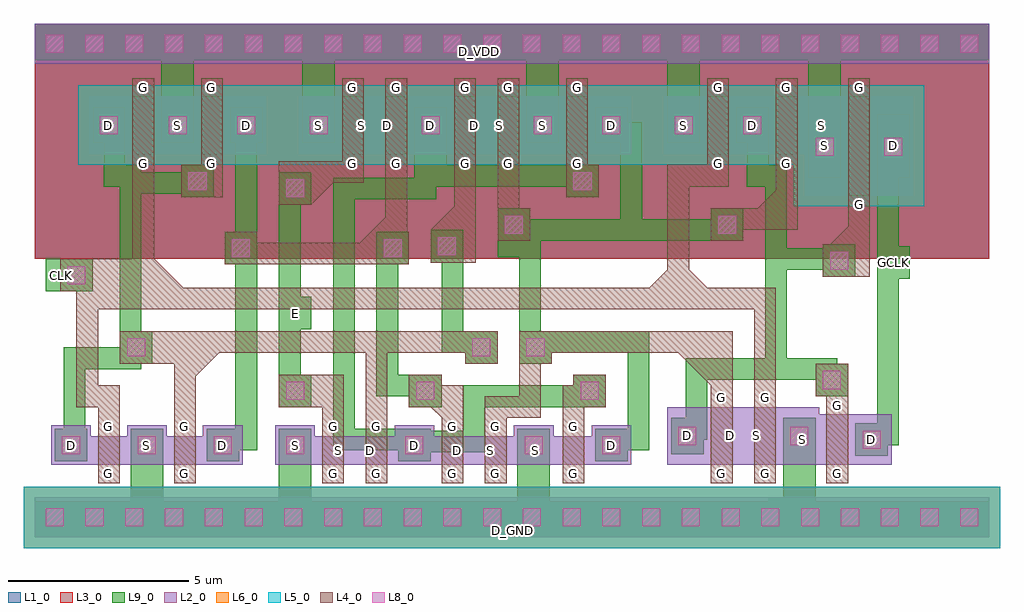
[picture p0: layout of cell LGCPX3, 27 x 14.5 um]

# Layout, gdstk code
import gdstk
lib = gdstk.Library(unit=1e-6, precision=1e-09)
def R(c, l, rs):  # rectangles x0, y0, x1, y1
    for r in rs: c.add(gdstk.rectangle(r[:2], r[2:], *l))
def A(c, l, x, y, w, h, nx, ny, dx, dy):  # array of equal rectangles
    R(c, l, [(x+i*dx, y+j*dy, x+i*dx+w, y+j*dy+h) for i in range(nx) for j in range(ny)])
def P(c, l, *ps):  # polygons
    for p in ps: c.add(gdstk.Polygon(p, *l))
L1_0 = (1, 0)
L2_0 = (2, 0)
L3_0 = (3, 0)
L4_0 = (4, 0)
L5_0 = (5, 0)
L6_0 = (6, 0)
L8_0 = (8, 0)
L9_0 = (9, 0)

lgcpx3 = lib.new_cell('LGCPX3')
A(lgcpx3, L1_0, 0, 7.7, 1.1, 6.5, 24, 1, 1.1, 0)
R(lgcpx3, L1_0, [(19.8,7.95,25.8,13.7), (0,9.1,6,13.7), (1.9,9.1,7.9,13.7), (5.8,9.1,11.8,13.7), (7,9.1,13,13.7), (8.9,9.1,14.9,13.7), (10.1,9.1,16.1,13.7), (12,9.1,18,13.7), (15.9,9.1,21.9,13.7), (17.8,9.1,23.8,13.7)])
A(lgcpx3, L2_0, 0, 0, 1.1, 1.1, 24, 2, 1.1, 13.1)
R(lgcpx3, L2_0, [(0.45,2,1.55,3.1), (1.55,2,2.55,2.8), (2.55,2,3.65,3.1), (2.55,2,3.65,3.1), (3.65,2,4.65,2.8), (4.65,2,5.75,3.1), (6.65,2,7.75,3.1), (7.75,2,8.75,2.8), (7.85,2,8.95,2.8), (8.75,2,9.85,2.8), (8.95,2,9.95,2.8), (9.95,2,11.05,3.1), (9.95,2,11.05,3.1), (11.05,2,12.05,2.8), (11.15,2,12.25,2.8), (12.05,2,13.15,2.8), (12.25,2,13.25,2.8), (13.25,2,14.35,3.1), (13.3,2,14.4,2.8), (14.4,2,15.4,2.8), (15.4,2,16.5,3.1), (17.5,2,18.6,3.6), (18.6,2,19.4,3.6), (18.7,2,19.8,3.6), (19.4,2,20.5,3.6), (19.8,2,20.6,3.6), (20.6,2,21.7,3.6), (20.7,2,21.8,3.4), (21.8,2,22.6,3.4), (22.6,2,23.7,3.4), (21.3,9.45,22.4,12.2), (22.4,9.45,23.2,12.2), (23.2,9.45,24.3,12.2), (1.5,10.6,2.6,12.2), (2.6,10.6,3.4,12.2), (3.4,10.6,4.5,12.2), (3.4,10.6,4.5,12.2), (4.5,10.6,5.3,12.2), (5.3,10.6,6.4,12.2), (7.3,10.6,8.4,12.2), (8.4,10.6,9.2,12.2), (8.5,10.6,9.6,12.2), (9.2,10.6,10.3,12.2), (9.6,10.6,10.4,12.2), (10.4,10.6,11.5,12.2), (10.4,10.6,11.5,12.2), (11.5,10.6,12.3,12.2), (11.6,10.6,12.7,12.2), (12.3,10.6,13.4,12.2), (12.7,10.6,13.5,12.2), (13.5,10.6,14.6,12.2), (13.5,10.6,14.6,12.2), (14.6,10.6,15.4,12.2), (15.4,10.6,16.5,12.2), (17.4,10.6,18.5,12.2), (18.5,10.6,19.3,12.2), (19.3,10.6,20.4,12.2), (19.3,10.6,20.4,12.2), (20.4,10.6,21.2,12.2), (21.2,10.6,22.3,12.2)])
A(lgcpx3, L3_0, 0, 7.7, 1.1, 6.5, 24, 1, 1.1, 0)
R(lgcpx3, L3_0, [(19.8,7.95,25.8,13.7), (0,9.1,6,13.7), (1.9,9.1,7.9,13.7), (5.8,9.1,11.8,13.7), (7,9.1,13,13.7), (8.9,9.1,14.9,13.7), (10.1,9.1,16.1,13.7), (12,9.1,18,13.7), (15.9,9.1,21.9,13.7), (17.8,9.1,23.8,13.7)])
R(lgcpx3, L4_0, [(1.75,1.5,2.35,2), (1.75,1.5,2.35,3.3), (3.85,1.5,4.45,2), (3.85,1.5,4.45,3.3), (7.95,1.5,8.55,2), (7.95,1.5,8.55,3.3), (9.15,1.5,9.75,2), (9.15,1.5,9.75,3.3), (11.25,1.5,11.85,2), (11.25,1.5,11.85,3.3), (12.45,1.5,13.05,2), (12.45,1.5,13.05,3.3), (14.6,1.5,15.2,2), (14.6,1.5,15.2,3.3), (18.7,1.5,19.3,4.1), (18.7,1.5,19.3,2), (19.9,1.5,20.5,4.1), (19.9,1.5,20.5,2), (21.9,1.5,22.5,2), (21.9,1.5,22.5,3.9), (1.75,2.8,2.35,3.3), (3.85,2.8,4.45,3.3), (7.95,2.8,8.55,3.3), (9.15,2.8,9.75,3.3), (11.25,2.8,11.85,3.3), (12.45,2.8,13.05,3.3), (14.6,2.8,15.2,3.3), (14.6,3,15.2,4.2), (11.25,3.25,11.85,4.2), (9.15,3.3,9.75,4.55), (21.9,3.4,22.5,3.9), (6.75,3.6,7.65,4.5), (10.35,3.6,11.25,4.5), (14.9,3.6,15.8,4.5), (18.7,3.6,19.3,4.1), (19.9,3.6,20.5,4.1), (21.6,3.9,22.5,4.8), (7.65,4.2,8.55,4.5), (2.35,4.8,3.25,5.7), (11.9,4.8,12.8,5.7), (13.4,4.8,14.3,5.7), (8.2,5.1,12.55,5.7), (2.7,6.3,3.3,10.1), (0.7,6.8,1.6,7.7), (1.6,6.9,2.7,7.7), (21.8,7.2,22.7,8.1), (22.5,7.2,23.1,8.95), (5.25,7.55,6.15,8.45), (9.45,7.55,10.35,8.45), (10.95,7.6,11.85,8.5), (11.6,7.6,12.2,10.1), (12.8,8.2,13.7,9.1), (18.7,8.2,19.6,9.1), (22.5,8.95,23.1,9.45), (22.5,8.95,23.1,12.7), (12.8,9.1,13.4,10.1), (6.75,9.2,7.65,10.1), (4.05,9.4,4.95,10.3), (4.95,9.4,5.2,10.15), (14.7,9.4,15.6,10.3), (6.75,9.8,9.1,10.4), (2.7,10.1,3.3,12.7), (2.7,10.1,3.3,10.6), (4.6,10.1,5.2,12.7), (4.6,10.1,5.2,10.6), (8.5,10.1,9.1,12.7), (8.5,10.1,9.1,10.6), (9.7,10.1,10.3,12.7), (9.7,10.1,10.3,10.6), (11.6,10.1,12.2,12.7), (11.6,10.1,12.2,10.6), (12.8,10.1,13.4,12.7), (12.8,10.1,13.4,10.6), (14.7,10.1,15.3,12.7), (14.7,10.1,15.3,10.6), (18.6,10.1,19.2,12.7), (18.6,10.1,19.2,10.6), (20.5,10.1,21.1,12.7), (20.5,10.1,21.1,10.6), (2.7,12.2,3.3,12.7), (4.6,12.2,5.2,12.7), (8.5,12.2,9.1,12.7), (9.7,12.2,10.3,12.7), (11.6,12.2,12.2,12.7), (12.8,12.2,13.4,12.7), (14.7,12.2,15.3,12.7), (18.6,12.2,19.2,12.7), (20.5,12.2,21.1,12.7), (22.5,12.2,23.1,12.7)])
P(lgcpx3, L4_0, [(3.3,6.9),(4.1,6.9),(3.3,7.7)],
  [(4.45,4.45),(5.1,5.1),(4.45,5.1)],
  [(7.65,9.2),(8.25,9.8),(7.65,9.8)],
  [(11.65,8.5),(11.65,9.2),(10.95,8.5)],
  [(9.7,8.1),(9.7,8.85),(8.95,8.1)],
  [(17.8,5.1),(18.7,4.2),(18.7,5.1)],
  [(11.25,3.6),(10.95,3.6),(11.25,3.3)],
  [(18.1,6.9),(18.6,6.9),(18.1,7.4)],
  [(17.5,6.9),(17.5,7.4),(17,6.9)],
  [(22.5,8.1),(22.5,8.6),(22,8.1)],
  [(20.5,9.1),(20.5,9.6),(20,9.1)],
  [(19.6,8.5),(21.1,8.5),(21.1,10.1),(20.5,10.1),(20.5,9.1),(19.6,9.1)],
  [(17.5,6.9),(18.1,6.9),(18.1,9.7),(19.2,9.7),(19.2,10.4),(18.6,10.4),(18.6,10.3),(17.5,10.3)],
  [(6.15,7.55),(10.3,7.55),(10.3,10.1),(9.7,10.1),(9.7,8.15),(6.15,8.15)],
  [(2.9,5.1),(9.15,5.1),(9.15,4.5),(9.75,4.5),(9.75,5.7),(2.9,5.7)],
  [(1.15,3.6),(1.75,3.6),(1.75,3.3),(2.35,3.3),(2.35,4.2),(1.75,4.2),(1.75,6.3),(2.35,6.3),(2.35,6.9),(1.15,6.9)],
  [(3.2,4.8),(3.85,4.8),(3.85,3.3),(4.45,3.3),(4.45,5.4),(3.2,5.4)],
  [(7.65,3.6),(7.95,3.6),(7.95,3.3),(8.55,3.3),(8.55,4.2),(7.65,4.2)],
  [(12.45,3.3),(14,3.3),(14,4.8),(13.4,4.8),(13.4,3.9),(12.45,3.9)],
  [(14.3,5.1),(18.7,5.1),(18.7,4.1),(19.3,4.1),(19.3,5.7),(14.3,5.7)],
  [(1.15,3.6),(1.75,3.6),(1.75,3.3),(2.35,3.3),(2.35,4.2),(1.75,4.2),(1.75,6.3),(19.9,6.3),(19.9,4.1),(20.5,4.1),(20.5,6.9),(1.15,6.9)])
A(lgcpx3, L5_0, 1.1, -0.3, 1.1, 1.7, 22, 1, 1.1, 0)
R(lgcpx3, L5_0, [(-0.3,-0.3,1.1,1.4), (25.3,-0.3,26.7,1.4), (21,9.15,24.6,12.5), (1.2,10.3,4.8,12.5), (3.1,10.3,6.7,12.5), (6.7,10.3,7,12.5), (7,10.3,10.6,12.5), (8.2,10.3,11.8,12.5), (10.1,10.3,13.7,12.5), (11.3,10.3,14.9,12.5), (13.2,10.3,16.8,12.5), (16.8,10.3,17.1,12.5), (17.1,10.3,20.7,12.5), (19,10.3,22.6,12.5)])
A(lgcpx3, L6_0, 1.1, -0.3, 1.1, 1.7, 22, 1, 1.1, 0)
R(lgcpx3, L6_0, [(-0.3,-0.3,1.1,1.4), (25.3,-0.3,26.7,1.4), (21,9.15,24.6,12.5), (1.2,10.3,4.8,12.5), (3.1,10.3,6.7,12.5), (6.7,10.3,7,12.5), (7,10.3,10.6,12.5), (8.2,10.3,11.8,12.5), (10.1,10.3,13.7,12.5), (11.3,10.3,14.9,12.5), (13.2,10.3,16.8,12.5), (16.8,10.3,17.1,12.5), (17.1,10.3,20.7,12.5), (19,10.3,22.6,12.5)])
A(lgcpx3, L8_0, 0.3, 0.3, 0.5, 0.5, 24, 2, 1.1, 13.1)
R(lgcpx3, L8_0, [(0.75,2.3,1.25,2.8), (2.85,2.3,3.35,2.8), (2.85,2.3,3.35,2.8), (4.95,2.3,5.45,2.8), (6.95,2.3,7.45,2.8), (10.25,2.3,10.75,2.8), (10.25,2.3,10.75,2.8), (13.55,2.3,14.05,2.8), (15.7,2.3,16.2,2.8), (22.9,2.45,23.4,2.95), (17.8,2.55,18.3,3.05), (20.9,2.55,21.4,3.05), (6.95,3.8,7.45,4.3), (10.55,3.8,11.05,4.3), (15.1,3.8,15.6,4.3), (21.8,4.1,22.3,4.6), (2.55,5,3.05,5.5), (12.1,5,12.6,5.5), (13.6,5,14.1,5.5), (0.9,7,1.4,7.5), (22,7.4,22.5,7.9), (5.45,7.75,5.95,8.25), (9.65,7.75,10.15,8.25), (11.15,7.8,11.65,8.3), (13,8.4,13.5,8.9), (18.9,8.4,19.4,8.9), (6.95,9.4,7.45,9.9), (4.25,9.6,4.75,10.1), (14.9,9.6,15.4,10.1), (21.6,10.55,22.1,11.05), (23.5,10.55,24,11.05), (1.8,11.15,2.3,11.65), (3.7,11.15,4.2,11.65), (3.7,11.15,4.2,11.65), (5.6,11.15,6.1,11.65), (7.6,11.15,8.1,11.65), (10.7,11.15,11.2,11.65), (10.7,11.15,11.2,11.65), (13.8,11.15,14.3,11.65), (13.8,11.15,14.3,11.65), (15.7,11.15,16.2,11.65), (17.7,11.15,18.2,11.65), (19.6,11.15,20.1,11.65), (19.6,11.15,20.1,11.65)])
A(lgcpx3, L9_0, 0, 0, 1.1, 1, 24, 2, 1.1, 13.2)
R(lgcpx3, L9_0, [(0,0,26.4,1), (13.35,0.1,14.25,3), (2.65,0.35,3.55,3), (6.75,0.35,7.65,3), (0.55,2.1,1.45,3), (2.65,2.1,3.55,3), (2.65,2.1,3.55,3), (4.75,2.1,5.65,3), (6.75,2.1,7.65,3), (10.05,2.1,10.95,3), (10.05,2.1,10.95,3), (13.35,2.1,14.25,3), (15.5,2.1,16.4,3), (22.7,2.25,23.6,3.15), (17.6,2.3,18.5,3.3), (20.7,2.3,21.6,3.3), (6.75,3.6,7.65,4.5), (10.35,3.6,11.25,4.5), (14.9,3.6,15.8,4.5), (21.6,3.9,22.5,4.8), (2.35,4.8,3.25,5.7), (11.9,4.8,12.8,5.7), (13.4,4.8,14.3,5.7), (6.75,5.75,7.65,6.65), (0.3,6.8,1.2,7.7), (0.7,6.8,1.6,7.7), (23.3,7.15,24.2,8.05), (21.8,7.2,22.7,8.1), (20.2,7.4,22.4,8), (5.25,7.55,6.15,8.45), (9.45,7.55,10.35,8.45), (10.95,7.6,11.85,8.5), (12.8,7.75,14,8.2), (12.8,8.2,13.7,9.1), (13.4,8.2,16.8,8.8), (16.2,8.2,19.3,8.8), (18.7,8.2,19.6,9.1), (6.75,9.2,7.65,10.1), (4.05,9.4,4.95,10.3), (14.7,9.4,15.6,10.3), (2.35,9.5,4.65,10.1), (10.5,9.7,15.3,10.3), (21.4,9.95,22.3,11.7), (23.3,9.95,24.2,11.7), (11.1,10.3,11.4,10.9), (1.6,10.9,2.5,11.9), (3.5,10.9,4.4,11.9), (3.5,10.9,4.4,11.9), (5.4,10.9,6.3,11.9), (7.4,10.9,8.3,11.9), (10.5,10.9,11.4,11.9), (10.5,10.9,11.4,11.9), (13.6,10.9,14.5,11.9), (13.6,10.9,14.5,11.9), (15.5,10.9,16.4,11.9), (17.5,10.9,18.4,11.9), (19.4,10.9,20.3,11.9), (19.4,10.9,20.3,11.9), (3.5,11,4.4,14.05), (7.4,11,8.3,14), (21.4,11.65,22.3,13.25), (13.6,11.9,14.5,13.3), (17.5,11.9,18.4,13.3), (0,13.2,24.6,14.2)])
P(lgcpx3, L9_0, [(13.15,8.2),(13.4,8.2),(13.4,5.1),(14,5.1),(14,8.8),(13.15,8.8)],
  [(1.9,9.7),(2.35,9.7),(2.35,5.1),(2.95,5.1),(2.95,10.3),(2.5,10.3),(2.5,11.5),(1.9,11.5)],
  [(20.3,0.2),(21.6,0.2),(21.6,3),(20.7,3),(20.7,1.1),(20.3,1.1)],
  [(23,2.55),(23.9,2.55),(23.9,10.55),(23.3,10.55),(23.3,3.15),(23,3.15)],
  [(15.8,10.9),(16.2,10.9),(16.2,8.2),(16.8,8.2),(16.8,11.5),(15.8,11.5)],
  [(20.2,4.35),(21.6,4.35),(21.6,4.2),(22.2,4.2),(22.2,4.95),(20.2,4.95)],
  [(17.9,2.7),(18.6,2.7),(18.6,4.35),(20.8,4.35),(20.8,4.95),(18,4.95),(18,3.3),(17.9,3.3)],
  [(19.7,9.7),(20.2,9.7),(20.2,4.35),(20.8,4.35),(20.8,10.3),(20.3,10.3),(20.3,11.5),(19.7,11.5)],
  [(5.05,2.4),(6.15,2.4),(6.15,11.5),(5.55,11.5),(5.55,3),(5.05,3)],
  [(0.8,2.4),(1.4,2.4),(1.4,4.65),(2.95,4.65),(2.95,5.4),(2.35,5.4),(2.35,5.25),(0.8,5.25)],
  [(6.75,3.9),(7.35,3.9),(7.35,9.2),(7.6,9.2),(7.6,9.8),(6.75,9.8)],
  [(10.35,2.35),(12.45,2.35),(12.45,3.6),(15.5,3.6),(15.5,4.2),(11.85,4.2),(11.85,2.95),(10.35,2.95)],
  [(9.45,3.9),(10.95,3.9),(10.95,4.5),(10.05,4.5),(10.05,8.15),(9.45,8.15)],
  [(11.25,5.1),(12.5,5.1),(12.5,5.7),(11.85,5.7),(11.85,8.2),(11.25,8.2)],
  [(13.7,5.1),(16.4,5.1),(16.4,3),(15.75,3),(15.75,2.4),(17,2.4),(17,5.7),(13.7,5.7)],
  [(8.25,2.4),(10.65,2.4),(10.65,3),(8.85,3),(8.85,9.35),(11.1,9.35),(11.1,11.5),(10.5,11.5),(10.5,9.95),(8.25,9.95)])
lgcpx3.add(gdstk.Label('G', (8.8,10.352), layer=4, texttype=0))
lgcpx3.add(gdstk.Label('G', (8.8,12.452), layer=4, texttype=0))
lgcpx3.add(gdstk.Label('S', (7.849,11.401), layer=9, texttype=0))
lgcpx3.add(gdstk.Label('D', (9.749,11.401), layer=2, texttype=0))
lgcpx3.add(gdstk.Label('G', (13.1,10.352), layer=4, texttype=0))
lgcpx3.add(gdstk.Label('G', (13.1,12.452), layer=4, texttype=0))
lgcpx3.add(gdstk.Label('S', (14.051,11.401), layer=9, texttype=0))
lgcpx3.add(gdstk.Label('D', (12.151,11.401), layer=2, texttype=0))
lgcpx3.add(gdstk.Label('G', (10,10.352), layer=4, texttype=0))
lgcpx3.add(gdstk.Label('G', (10,12.452), layer=4, texttype=0))
lgcpx3.add(gdstk.Label('S', (9.049,11.401), layer=2, texttype=0))
lgcpx3.add(gdstk.Label('D', (10.949,11.401), layer=9, texttype=0))
lgcpx3.add(gdstk.Label('G', (11.9,10.352), layer=4, texttype=0))
lgcpx3.add(gdstk.Label('G', (11.9,12.452), layer=4, texttype=0))
lgcpx3.add(gdstk.Label('S', (12.851,11.401), layer=2, texttype=0))
lgcpx3.add(gdstk.Label('D', (10.951,11.401), layer=9, texttype=0))
lgcpx3.add(gdstk.Label('G', (15,10.352), layer=4, texttype=0))
lgcpx3.add(gdstk.Label('G', (15,12.452), layer=4, texttype=0))
lgcpx3.add(gdstk.Label('S', (14.049,11.401), layer=9, texttype=0))
lgcpx3.add(gdstk.Label('D', (15.949,11.401), layer=9, texttype=0))
lgcpx3.add(gdstk.Label('G', (9.45,1.752), layer=4, texttype=0))
lgcpx3.add(gdstk.Label('G', (9.45,3.052), layer=4, texttype=0))
lgcpx3.add(gdstk.Label('S', (8.399,2.401), layer=2, texttype=0))
lgcpx3.add(gdstk.Label('D', (10.499,2.551), layer=9, texttype=0))
lgcpx3.add(gdstk.Label('G', (11.55,1.752), layer=4, texttype=0))
lgcpx3.add(gdstk.Label('G', (11.55,3.052), layer=4, texttype=0))
lgcpx3.add(gdstk.Label('S', (12.601,2.401), layer=2, texttype=0))
lgcpx3.add(gdstk.Label('D', (10.501,2.551), layer=9, texttype=0))
lgcpx3.add(gdstk.Label('G', (14.9,1.752), layer=4, texttype=0))
lgcpx3.add(gdstk.Label('G', (14.9,3.052), layer=4, texttype=0))
lgcpx3.add(gdstk.Label('S', (13.849,2.401), layer=2, texttype=0))
lgcpx3.add(gdstk.Label('D', (15.949,2.551), layer=9, texttype=0))
lgcpx3.add(gdstk.Label('D', (9.299,2.401), layer=2, texttype=0))
lgcpx3.add(gdstk.Label('G', (8.25,1.752), layer=4, texttype=0))
lgcpx3.add(gdstk.Label('G', (8.25,3.052), layer=4, texttype=0))
lgcpx3.add(gdstk.Label('S', (7.199,2.551), layer=9, texttype=0))
lgcpx3.add(gdstk.Label('D', (11.701,2.401), layer=2, texttype=0))
lgcpx3.add(gdstk.Label('G', (12.75,1.752), layer=4, texttype=0))
lgcpx3.add(gdstk.Label('G', (12.75,3.052), layer=4, texttype=0))
lgcpx3.add(gdstk.Label('S', (13.801,2.551), layer=9, texttype=0))
lgcpx3.add(gdstk.Label('G', (20.8,10.352), layer=4, texttype=0))
lgcpx3.add(gdstk.Label('G', (20.8,12.452), layer=4, texttype=0))
lgcpx3.add(gdstk.Label('S', (21.751,11.401), layer=2, texttype=0))
lgcpx3.add(gdstk.Label('D', (19.851,11.401), layer=9, texttype=0))
lgcpx3.add(gdstk.Label('G', (18.9,10.352), layer=4, texttype=0))
lgcpx3.add(gdstk.Label('G', (18.9,12.452), layer=4, texttype=0))
lgcpx3.add(gdstk.Label('S', (17.949,11.401), layer=9, texttype=0))
lgcpx3.add(gdstk.Label('D', (19.849,11.401), layer=9, texttype=0))
lgcpx3.add(gdstk.Label('G', (22.8,9.202), layer=4, texttype=0))
lgcpx3.add(gdstk.Label('G', (22.8,12.452), layer=4, texttype=0))
lgcpx3.add(gdstk.Label('S', (21.849,10.826), layer=9, texttype=0))
lgcpx3.add(gdstk.Label('D', (23.749,10.826), layer=9, texttype=0))
lgcpx3.add(gdstk.Label('G', (3,10.352), layer=4, texttype=0))
lgcpx3.add(gdstk.Label('G', (3,12.452), layer=4, texttype=0))
lgcpx3.add(gdstk.Label('S', (3.951,11.401), layer=9, texttype=0))
lgcpx3.add(gdstk.Label('D', (2.051,11.401), layer=9, texttype=0))
lgcpx3.add(gdstk.Label('G', (4.9,10.352), layer=4, texttype=0))
lgcpx3.add(gdstk.Label('G', (4.9,12.452), layer=4, texttype=0))
lgcpx3.add(gdstk.Label('S', (3.949,11.401), layer=9, texttype=0))
lgcpx3.add(gdstk.Label('D', (5.849,11.401), layer=9, texttype=0))
lgcpx3.add(gdstk.Label('G', (22.2,1.752), layer=4, texttype=0))
lgcpx3.add(gdstk.Label('G', (22.2,3.652), layer=4, texttype=0))
lgcpx3.add(gdstk.Label('S', (21.249,2.701), layer=2, texttype=0))
lgcpx3.add(gdstk.Label('D', (23.149,2.701), layer=9, texttype=0))
lgcpx3.add(gdstk.Label('G', (19,1.752), layer=4, texttype=0))
lgcpx3.add(gdstk.Label('G', (19,3.852), layer=4, texttype=0))
lgcpx3.add(gdstk.Label('S', (19.951,2.801), layer=2, texttype=0))
lgcpx3.add(gdstk.Label('D', (18.051,2.801), layer=9, texttype=0))
lgcpx3.add(gdstk.Label('S', (21.151,2.801), layer=9, texttype=0))
lgcpx3.add(gdstk.Label('G', (20.2,3.852), layer=4, texttype=0))
lgcpx3.add(gdstk.Label('G', (20.2,1.752), layer=4, texttype=0))
lgcpx3.add(gdstk.Label('D', (19.251,2.801), layer=2, texttype=0))
lgcpx3.add(gdstk.Label('G', (2.05,1.752), layer=4, texttype=0))
lgcpx3.add(gdstk.Label('G', (2.05,3.052), layer=4, texttype=0))
lgcpx3.add(gdstk.Label('S', (3.101,2.551), layer=9, texttype=0))
lgcpx3.add(gdstk.Label('D', (1.001,2.551), layer=9, texttype=0))
lgcpx3.add(gdstk.Label('G', (4.15,1.752), layer=4, texttype=0))
lgcpx3.add(gdstk.Label('G', (4.15,3.052), layer=4, texttype=0))
lgcpx3.add(gdstk.Label('S', (3.099,2.551), layer=9, texttype=0))
lgcpx3.add(gdstk.Label('D', (5.199,2.551), layer=9, texttype=0))
lgcpx3.add(gdstk.Label('GCLK', (23.75,7.6), layer=50, texttype=0))
lgcpx3.add(gdstk.Label('E', (7.2,6.2), layer=50, texttype=0))
lgcpx3.add(gdstk.Label('D_VDD', (12.3,13.45), layer=50, texttype=0))
lgcpx3.add(gdstk.Label('CLK', (0.75,7.25), layer=50, texttype=0))
lgcpx3.add(gdstk.Label('D_GND', (13.2,0.2), layer=50, texttype=0))

lib.write_gds('LGCPX3.gds')
